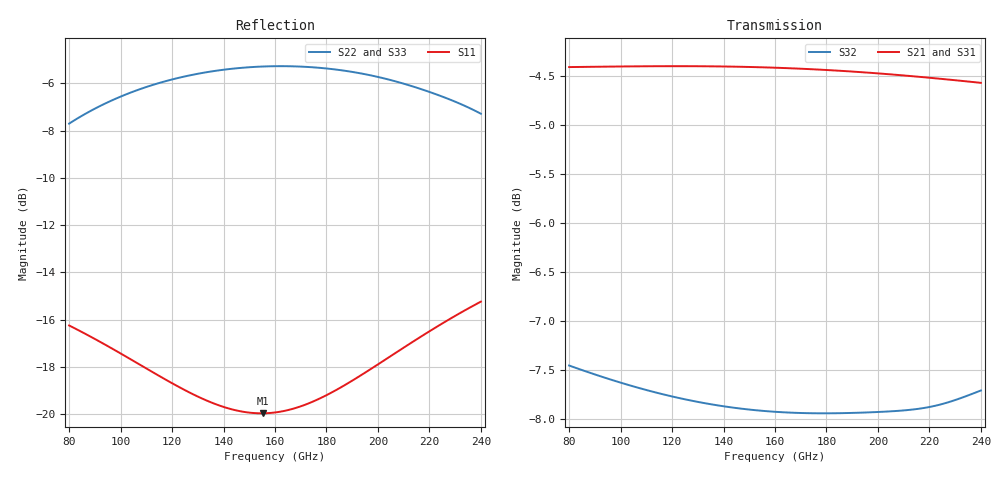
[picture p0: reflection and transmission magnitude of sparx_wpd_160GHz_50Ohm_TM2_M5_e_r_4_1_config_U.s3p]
#  GHZ S DB R 50.0
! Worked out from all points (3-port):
!   101 points, 80 GHz to 240 GHz, reference 50 ohm
!   strongest paths, dB at 80 GHz, 120 GHz, 160 GHz, 200 GHz, 240 GHz:
!     S21: -4.4, -4.4, -4.4, -4.5, -4.6
!     S31: -4.4, -4.4, -4.4, -4.5, -4.6
!     S32: -7.5, -7.8, -7.9, -7.9, -7.7
!   lowest |S11| = -20.0 dB at 155.2 GHz (marker M1), VSWR 1.22, Z = 40.9 + j0.115 ohm
!   |S11| at or under -10 dB: start of sweep to end of sweep
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80  -16.25 160.0  -4.41 -45.2  -4.41 -45.2
    -4.41 -45.2  -7.71 43.1  -7.45 -92.7
    -4.41 -45.2  -7.45 -92.7  -7.70 43.1
99.2  -17.38 159.7  -4.40 -56.1  -4.40 -56.1
      -4.40 -56.1  -6.60 30.8  -7.62 -113.8
      -4.40 -56.1  -7.62 -113.8  -6.60 30.9
120  -18.69 163.0  -4.40 -68.0  -4.40 -68.0
     -4.40 -68.0  -5.84 18.4  -7.77 -136.3
     -4.40 -68.0  -7.77 -136.3  -5.83 18.5
137.6  -19.61 169.7  -4.40 -78.0  -4.40 -78.0
       -4.40 -78.0  -5.46 8.4  -7.86 -155.2
       -4.40 -78.0  -7.86 -155.2  -5.46 8.5
155.2  -19.97 179.2  -4.41 -88.1  -4.41 -88.1
       -4.41 -88.1  -5.29 -1.4  -7.92 -174.1
       -4.41 -88.1  -7.92 -174.1  -5.29 -1.3
160  -19.93 -178.0  -4.42 -90.9  -4.42 -90.9
     -4.42 -90.9  -5.28 -4.0  -7.93 -179.3
     -4.42 -90.9  -7.93 -179.3  -5.27 -3.9
177.6  -19.33 -168.8  -4.44 -101.0  -4.44 -101.0
       -4.44 -101.0  -5.35 -13.7  -7.94 161.8
       -4.44 -101.0  -7.94 161.8  -5.35 -13.6
195.2  -18.23 -162.8  -4.47 -111.1  -4.47 -111.1
       -4.47 -111.1  -5.62 -23.5  -7.93 142.9
       -4.47 -111.1  -7.93 142.9  -5.62 -23.4
217.6  -16.66 -160.2  -4.51 -123.9  -4.52 -123.8
       -4.51 -123.9  -6.28 -35.9  -7.89 118.9
       -4.52 -123.8  -7.89 118.9  -6.28 -35.8
240  -15.24 -161.7  -4.57 -136.6  -4.57 -136.6
     -4.57 -136.6  -7.29 -49.2  -7.71 94.7
     -4.57 -136.6  -7.71 94.7  -7.29 -49.1
